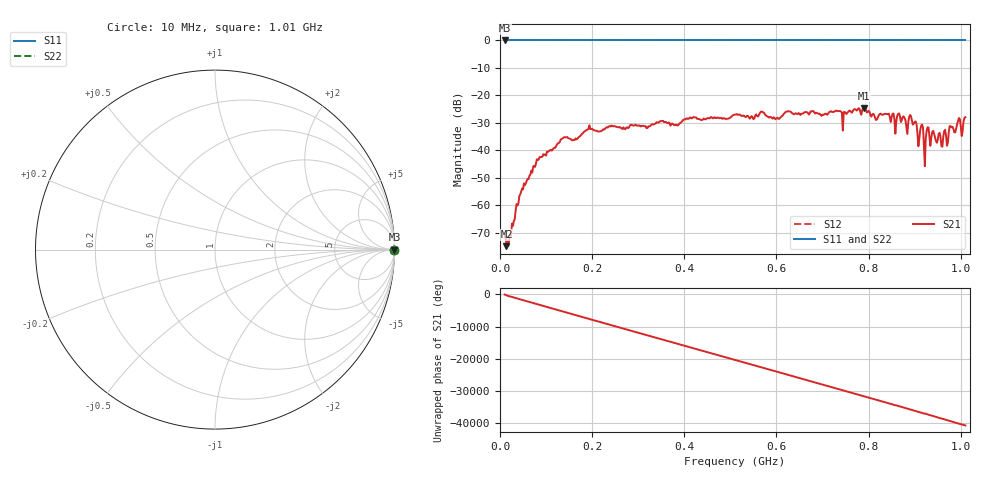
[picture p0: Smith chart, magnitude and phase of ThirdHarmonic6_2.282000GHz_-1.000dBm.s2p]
! 8/17/2025 2:58:07 AM
! C:\ANRITSUVNA\TEMP\TEMP.S2P
! CHANNEL.1
! TR.MEASUREMENT
! RAW.DATA
! RF.CORRECTION.OFF
! AVERAGING.OFF
! IF.BANDWIDTH: 5KHZ
! SWEEPTYPE:  FREQ.SWEEP(Linear)
! Reference Plane Port Info
! PORT:  PORT1  PORT2
! DISTANCE:  0  m  0  m
! TIME:  0  s  0  s
! PHASE.OFFSET:  0  deg.  0  deg.
! LOSS:  0  dB  0  dB
! REF.LOSS:  0  dB  0  dB
! REF.FREQ:  0  Hz  0  Hz
! Power Info
! POWER:  -20  dBm  -20  dBm
! EFF.POWER:  -20  dBm  -20  dBm
! SOURCE.ATTEN:  0  dB  0  dB
! TEST.ATTEN:  0  dB  0  dB
# GHZ S RI R 50.0
! FREQ.GHZ  S11RE  S11IM  S21RE  S21IM  S12RE  S12IM  S22RE  S22IM
!; PortSelection: Port_12
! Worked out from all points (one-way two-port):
!   501 points, 10 MHz to 1.01 GHz, reference 50 ohm
!   highest |S21| = -24.53 dB at 790 MHz (marker M1); lowest = -74.8 dB at 14 MHz (marker M2)
!   lowest |S11| = 0.0 dB at 10 MHz (marker M3)
!   |S11| at or under -10 dB: nowhere
!   |S22| runs from 0.0 to 0.0 dB; largest |S21 - S12| = 1.1
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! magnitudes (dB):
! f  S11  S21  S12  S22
! 10 MHz  0.0  -71.7  0.0  0.0
! 14 MHz  0.0  -74.8  0.0  0.0
! 20 MHz  0.0  -72.6  0.0  0.0
! 48 MHz  0.0  -53.9  0.0  0.0
! 82 MHz  0.0  -43.5  0.0  0.0
! 136 MHz  0.0  -35.6  0.0  0.0
! 178 MHz  0.0  -34.0  0.0  0.0
! 344 MHz  0.0  -29.9  0.0  0.0
! 510 MHz  0.0  -27.0  0.0  0.0
! 602 MHz  0.0  -28.1  0.0  0.0
! 678 MHz  0.0  -25.7  0.0  0.0
! 748 MHz  0.0  -26.0  0.0  0.0
! 790 MHz  0.0  -24.5  0.0  0.0
! 844 MHz  0.0  -26.7  0.0  0.0
! 882 MHz  0.0  -31.6  0.0  0.0
! 892 MHz  0.0  -27.6  0.0  0.0
! 908 MHz  0.0  -38.5  0.0  0.0
! 916 MHz  0.0  -30.6  0.0  0.0
! 922 MHz  0.0  -45.8  0.0  0.0
! 928 MHz  0.0  -31.6  0.0  0.0
! 970 MHz  0.0  -38.3  0.0  0.0
! 1.01 GHz  0.0  -27.9  0.0  0.0
